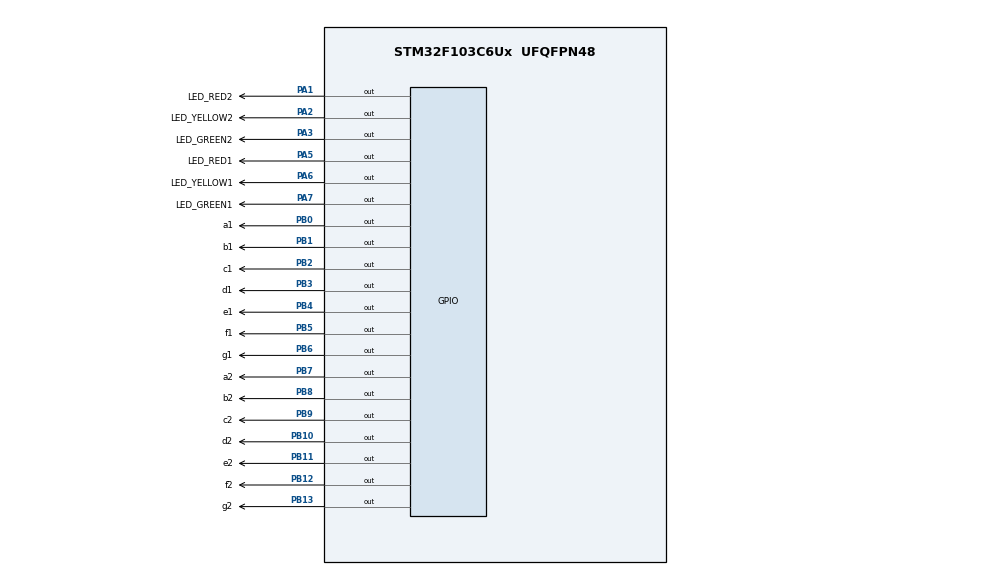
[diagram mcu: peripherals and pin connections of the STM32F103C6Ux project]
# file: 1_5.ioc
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Mcu.Family=STM32F1
Mcu.Name=STM32F103C6Ux
Mcu.Package=UFQFPN48
NVIC.PriorityGroup=NVIC_PRIORITYGROUP_4
PA1.GPIO_Label=LED_RED2
PA1.Signal=GPIO_Output
PA2.GPIO_Label=LED_YELLOW2
PA2.Signal=GPIO_Output
PA3.GPIO_Label=LED_GREEN2
PA3.Signal=GPIO_Output
PA5.GPIO_Label=LED_RED1
PA5.Signal=GPIO_Output
PA6.GPIO_Label=LED_YELLOW1
PA6.Signal=GPIO_Output
PA7.GPIO_Label=LED_GREEN1
PA7.Signal=GPIO_Output
PB0.GPIO_Label=a1
PB0.Signal=GPIO_Output
PB1.GPIO_Label=b1
PB1.Signal=GPIO_Output
PB10.GPIO_Label=d2
PB10.Signal=GPIO_Output
PB11.GPIO_Label=e2
PB11.Signal=GPIO_Output
PB12.GPIO_Label=f2
PB12.Signal=GPIO_Output
PB13.GPIO_Label=g2
PB13.Signal=GPIO_Output
PB2.GPIO_Label=c1
PB2.Signal=GPIO_Output
PB3.GPIO_Label=d1
PB3.Signal=GPIO_Output
PB4.GPIO_Label=e1
PB4.Signal=GPIO_Output
PB5.GPIO_Label=f1
PB5.Signal=GPIO_Output
PB6.GPIO_Label=g1
PB6.Signal=GPIO_Output
PB7.GPIO_Label=a2
PB7.Signal=GPIO_Output
PB8.GPIO_Label=b2
PB8.Signal=GPIO_Output
PB9.GPIO_Label=c2
PB9.Signal=GPIO_Output
ProjectManager.HeapSize=0x200
ProjectManager.StackSize=0x400
ProjectManager.TargetToolchain=STM32CubeIDE
RCC.APB1Freq_Value=8000000
RCC.APB2Freq_Value=8000000
VP_SYS_VS_ND.Mode=No_Debug
board=custom

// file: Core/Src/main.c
/* USER CODE BEGIN Header */
/**
  ******************************************************************************
  * @file           : main.c
  * @brief          : Main program body
  ******************************************************************************
  * @attention
  *
  * <h2><center>&copy; Copyright (c) 2025 STMicroelectronics.
  * All rights reserved.</center></h2>
  *
  * This software component is licensed by ST under BSD 3-Clause license,
  * the "License"; You may not use this file except in compliance with the
  * License. You may obtain a copy of the License at:
  *                        opensource.org/licenses/BSD-3-Clause
  *
  ******************************************************************************
  */
/* USER CODE END Header */
#include "main.h"

/* USER CODE BEGIN PV */
int d7_NUM [10][7] = {
	{0, 0, 0, 0, 0, 0, 1},
	{1, 0, 0, 1, 1, 1, 1},
	{0, 0, 1, 0, 0, 1, 0},
	{0, 0, 0, 0, 1, 1, 0},
	{1, 0, 0, 1, 1, 0, 0},
	{0, 1, 0, 0, 1, 0, 0},
	{0, 1, 0, 0, 0, 0, 0},
	{0, 0, 0, 1, 1, 1, 1},
	{0, 0, 0, 0, 0, 0, 0},
	{0, 0, 0, 0, 1, 0, 0}
};
/* USER CODE END PV */

void SystemClock_Config(void);
static void MX_GPIO_Init(void);
/* USER CODE BEGIN PFP */
void display7SEG1(int num) {
	HAL_GPIO_WritePin(GPIOB, a1_Pin, d7_NUM[num][0]);
	HAL_GPIO_WritePin(GPIOB, b1_Pin, d7_NUM[num][1]);
	HAL_GPIO_WritePin(GPIOB, c1_Pin, d7_NUM[num][2]);
	HAL_GPIO_WritePin(GPIOB, d1_Pin, d7_NUM[num][3]);
	HAL_GPIO_WritePin(GPIOB, e1_Pin, d7_NUM[num][4]);
	HAL_GPIO_WritePin(GPIOB, f1_Pin, d7_NUM[num][5]);
	HAL_GPIO_WritePin(GPIOB, g1_Pin, d7_NUM[num][6]);
}
void display7SEG2(int num) {
	HAL_GPIO_WritePin(GPIOB, a2_Pin, d7_NUM[num][0]);
	HAL_GPIO_WritePin(GPIOB, b2_Pin, d7_NUM[num][1]);
	HAL_GPIO_WritePin(GPIOB, c2_Pin, d7_NUM[num][2]);
	HAL_GPIO_WritePin(GPIOB, d2_Pin, d7_NUM[num][3]);
	HAL_GPIO_WritePin(GPIOB, e2_Pin, d7_NUM[num][4]);
	HAL_GPIO_WritePin(GPIOB, f2_Pin, d7_NUM[num][5]);
	HAL_GPIO_WritePin(GPIOB, g2_Pin, d7_NUM[num][6]);
}
/* USER CODE END PFP */

int main(void)
{

  /* MCU Configuration--------------------------------------------------------*/

  /* Reset of all peripherals, Initializes the Flash interface and the Systick. */
  HAL_Init();

  /* Configure the system clock */
  SystemClock_Config();

  /* Initialize all configured peripherals */
  MX_GPIO_Init();
  /* USER CODE BEGIN 2 */
  int const green_timer = 3, red_timer = 5;
  int LED = 0, counter1 = 0, counter2 = 0;
  HAL_GPIO_WritePin(LED_RED1_GPIO_Port, LED_RED1_Pin, GPIO_PIN_RESET);
  HAL_GPIO_WritePin(LED_YELLOW1_GPIO_Port, LED_YELLOW1_Pin, GPIO_PIN_RESET);
  HAL_GPIO_WritePin(LED_GREEN1_GPIO_Port, LED_GREEN1_Pin, GPIO_PIN_RESET);
  HAL_GPIO_WritePin(LED_RED2_GPIO_Port, LED_RED2_Pin, GPIO_PIN_RESET);
  HAL_GPIO_WritePin(LED_YELLOW2_GPIO_Port, LED_YELLOW2_Pin, GPIO_PIN_RESET);
  HAL_GPIO_WritePin(LED_GREEN2_GPIO_Port, LED_GREEN2_Pin, GPIO_PIN_RESET);
  /* USER CODE END 2 */

  /* Infinite loop */
  /* USER CODE BEGIN WHILE */
  while (1)
  {
	LED %= (red_timer * 2);
	if (LED == 0) {
		HAL_GPIO_WritePin(LED_RED1_GPIO_Port, LED_RED1_Pin, GPIO_PIN_RESET);
		HAL_GPIO_WritePin(LED_GREEN1_GPIO_Port, LED_GREEN1_Pin, GPIO_PIN_SET);
		counter1 = green_timer;

		HAL_GPIO_WritePin(LED_YELLOW2_GPIO_Port, LED_YELLOW2_Pin, GPIO_PIN_RESET);
		HAL_GPIO_WritePin(LED_RED2_GPIO_Port, LED_RED2_Pin, GPIO_PIN_SET);
		counter2 = red_timer;
	} else if (LED == green_timer) {
		HAL_GPIO_WritePin(LED_GREEN1_GPIO_Port, LED_GREEN1_Pin, GPIO_PIN_RESET);
		HAL_GPIO_WritePin(LED_YELLOW1_GPIO_Port, LED_YELLOW1_Pin, GPIO_PIN_SET);
		counter1 = red_timer - green_timer;
	} else if (LED == red_timer) {
		HAL_GPIO_WritePin(LED_YELLOW1_GPIO_Port, LED_YELLOW1_Pin, GPIO_PIN_RESET);
		HAL_GPIO_WritePin(LED_RED1_GPIO_Port, LED_RED1_Pin, GPIO_PIN_SET);
		counter1 = red_timer;

		HAL_GPIO_WritePin(LED_RED2_GPIO_Port, LED_RED2_Pin, GPIO_PIN_RESET);
		HAL_GPIO_WritePin(LED_GREEN2_GPIO_Port, LED_GREEN2_Pin, GPIO_PIN_SET);
		counter2 = green_timer;
	} else if (LED == red_timer + green_timer) {
		HAL_GPIO_WritePin(LED_GREEN2_GPIO_Port, LED_GREEN2_Pin, GPIO_PIN_RESET);
		HAL_GPIO_WritePin(LED_YELLOW2_GPIO_Port, LED_YELLOW2_Pin, GPIO_PIN_SET);
		counter2 = red_timer - green_timer;
	}
	display7SEG1(--counter1);
	display7SEG2(--counter2);
	LED++;
	HAL_Delay(1000);
    /* USER CODE END WHILE */

  }
}

void SystemClock_Config(void)
{
  RCC_OscInitTypeDef RCC_OscInitStruct = {0};
  RCC_ClkInitTypeDef RCC_ClkInitStruct = {0};

  /** Initializes the RCC Oscillators according to the specified parameters
  * in the RCC_OscInitTypeDef structure.
  */
  RCC_OscInitStruct.OscillatorType = RCC_OSCILLATORTYPE_HSI;
  RCC_OscInitStruct.HSIState = RCC_HSI_ON;
  RCC_OscInitStruct.HSICalibrationValue = RCC_HSICALIBRATION_DEFAULT;
  RCC_OscInitStruct.PLL.PLLState = RCC_PLL_NONE;
  if (HAL_RCC_OscConfig(&RCC_OscInitStruct) != HAL_OK)
  {
    Error_Handler();
  }
  /** Initializes the CPU, AHB and APB buses clocks
  */
  RCC_ClkInitStruct.ClockType = RCC_CLOCKTYPE_HCLK|RCC_CLOCKTYPE_SYSCLK
                              |RCC_CLOCKTYPE_PCLK1|RCC_CLOCKTYPE_PCLK2;
  RCC_ClkInitStruct.SYSCLKSource = RCC_SYSCLKSOURCE_HSI;
  RCC_ClkInitStruct.AHBCLKDivider = RCC_SYSCLK_DIV1;
  RCC_ClkInitStruct.APB1CLKDivider = RCC_HCLK_DIV1;
  RCC_ClkInitStruct.APB2CLKDivider = RCC_HCLK_DIV1;

  if (HAL_RCC_ClockConfig(&RCC_ClkInitStruct, FLASH_LATENCY_0) != HAL_OK)
  {
    Error_Handler();
  }
}

static void MX_GPIO_Init(void)
{
  GPIO_InitTypeDef GPIO_InitStruct = {0};

  /* GPIO Ports Clock Enable */
  __HAL_RCC_GPIOA_CLK_ENABLE();
  __HAL_RCC_GPIOB_CLK_ENABLE();

  /*Configure GPIO pin Output Level */
  HAL_GPIO_WritePin(GPIOA, LED_RED2_Pin|LED_YELLOW2_Pin|LED_GREEN2_Pin|LED_RED1_Pin
                          |LED_YELLOW1_Pin|LED_GREEN1_Pin, GPIO_PIN_RESET);

  /*Configure GPIO pin Output Level */
  HAL_GPIO_WritePin(GPIOB, a1_Pin|b1_Pin|c1_Pin|d2_Pin
                          |e2_Pin|f2_Pin|g2_Pin|d1_Pin
                          |e1_Pin|f1_Pin|g1_Pin|a2_Pin
                          |b2_Pin|c2_Pin, GPIO_PIN_RESET);

  /*Configure GPIO pins : LED_RED2_Pin LED_YELLOW2_Pin LED_GREEN2_Pin LED_RED1_Pin
                           LED_YELLOW1_Pin LED_GREEN1_Pin */
  GPIO_InitStruct.Pin = LED_RED2_Pin|LED_YELLOW2_Pin|LED_GREEN2_Pin|LED_RED1_Pin
                          |LED_YELLOW1_Pin|LED_GREEN1_Pin;
  GPIO_InitStruct.Mode = GPIO_MODE_OUTPUT_PP;
  GPIO_InitStruct.Pull = GPIO_NOPULL;
  GPIO_InitStruct.Speed = GPIO_SPEED_FREQ_LOW;
  HAL_GPIO_Init(GPIOA, &GPIO_InitStruct);

  /*Configure GPIO pins : a1_Pin b1_Pin c1_Pin d2_Pin
                           e2_Pin f2_Pin g2_Pin d1_Pin
                           e1_Pin f1_Pin g1_Pin a2_Pin
                           b2_Pin c2_Pin */
  GPIO_InitStruct.Pin = a1_Pin|b1_Pin|c1_Pin|d2_Pin
                          |e2_Pin|f2_Pin|g2_Pin|d1_Pin
                          |e1_Pin|f1_Pin|g1_Pin|a2_Pin
                          |b2_Pin|c2_Pin;
  GPIO_InitStruct.Mode = GPIO_MODE_OUTPUT_PP;
  GPIO_InitStruct.Pull = GPIO_NOPULL;
  GPIO_InitStruct.Speed = GPIO_SPEED_FREQ_LOW;
  HAL_GPIO_Init(GPIOB, &GPIO_InitStruct);

}

void Error_Handler(void)
{
  __disable_irq();
  while (1)
  {
  }
}

/************************ (C) COPYRIGHT STMicroelectronics *****END OF FILE****/
